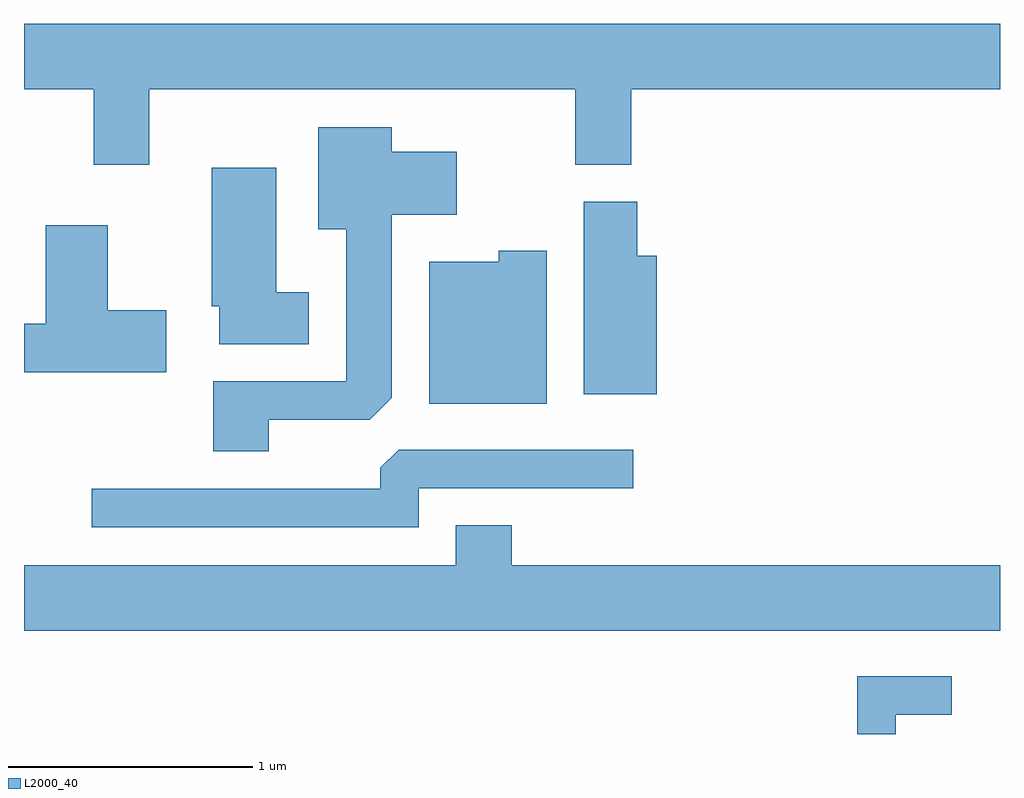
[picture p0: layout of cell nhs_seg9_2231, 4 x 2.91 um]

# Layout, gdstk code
import gdstk
lib = gdstk.Library(unit=1e-6, precision=1e-09)
def P(c, l, *ps):  # polygons
    for p in ps: c.add(gdstk.Polygon(p, *l))
L2000_40 = (2000, 40)

nhs_seg9_2231 = lib.new_cell('nhs_seg9_2231')
P(nhs_seg9_2231, L2000_40, [(250.124,2065.076),(251.871,2065.076),(251.871,2064.766),(252.099,2064.766),(252.099,2065.076),(253.611,2065.076),(253.611,2065.344),(249.611,2065.344),(249.611,2065.076),(249.896,2065.076),(249.896,2064.766),(250.124,2064.766)],
  [(250.614,2063.721),(251.029,2063.721),(251.119,2063.812),(251.119,2064.561),(251.384,2064.561),(251.384,2064.819),(251.119,2064.819),(251.119,2064.919),(250.816,2064.919),(250.816,2064.501),(250.931,2064.501),(250.931,2063.879),(250.386,2063.879),(250.386,2063.591),(250.614,2063.591)],
  [(250.779,2064.244),(250.644,2064.244),(250.644,2064.754),(250.381,2064.754),(250.381,2064.186),(250.411,2064.186),(250.411,2064.031),(250.779,2064.031)],
  [(252.204,2064.394),(252.124,2064.394),(252.124,2064.614),(251.906,2064.614),(251.906,2063.826),(252.204,2063.826)],
  [(250.194,2064.169),(249.954,2064.169),(249.954,2064.519),(249.701,2064.519),(249.701,2064.114),(249.611,2064.114),(249.611,2063.916),(250.194,2063.916)],
  [(251.754,2064.414),(251.556,2064.414),(251.556,2064.369),(251.271,2064.369),(251.271,2063.786),(251.754,2063.786)],
  [(251.229,2063.441),(252.108,2063.441),(252.108,2063.599),(251.147,2063.599),(251.071,2063.524),(251.071,2063.439),(249.888,2063.439),(249.888,2063.281),(251.229,2063.281)],
  [(253.611,2063.124),(251.609,2063.124),(251.609,2063.289),(251.381,2063.289),(251.381,2063.124),(249.611,2063.124),(249.611,2062.856),(253.611,2062.856)],
  [(253.184,2062.511),(253.413,2062.511),(253.413,2062.669),(253.026,2062.669),(253.026,2062.432),(253.184,2062.432)])

lib.write_gds('nhs_seg9_2231.gds')
